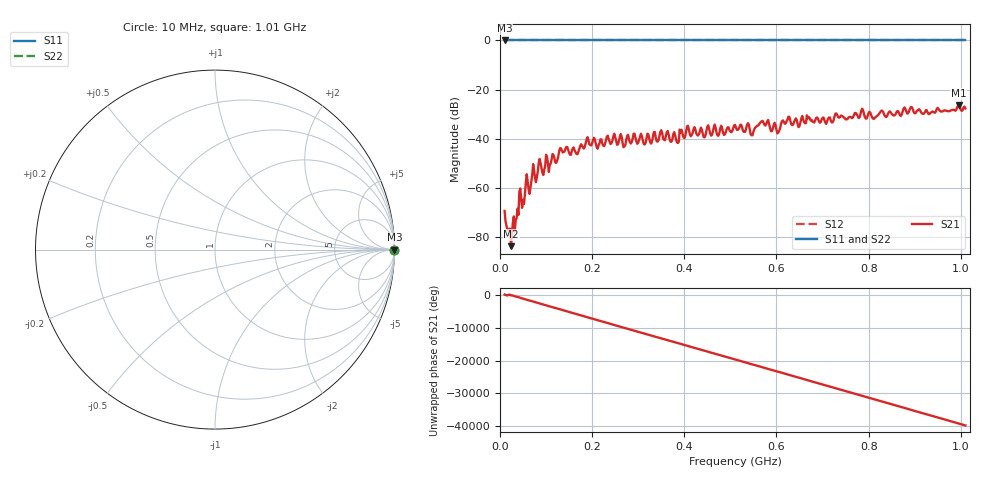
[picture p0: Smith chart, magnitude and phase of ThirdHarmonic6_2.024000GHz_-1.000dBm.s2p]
! 8/17/2025 12:17:43 AM
! C:\ANRITSUVNA\TEMP\TEMP.S2P
! CHANNEL.1
! TR.MEASUREMENT
! RAW.DATA
! RF.CORRECTION.OFF
! AVERAGING.OFF
! IF.BANDWIDTH: 5KHZ
! SWEEPTYPE:  FREQ.SWEEP(Linear)
! Reference Plane Port Info
! PORT:  PORT1  PORT2
! DISTANCE:  0  m  0  m
! TIME:  0  s  0  s
! PHASE.OFFSET:  0  deg.  0  deg.
! LOSS:  0  dB  0  dB
! REF.LOSS:  0  dB  0  dB
! REF.FREQ:  0  Hz  0  Hz
! Power Info
! POWER:  -20  dBm  -20  dBm
! EFF.POWER:  -20  dBm  -20  dBm
! SOURCE.ATTEN:  0  dB  0  dB
! TEST.ATTEN:  0  dB  0  dB
# GHZ S RI R 50.0
! FREQ.GHZ  S11RE  S11IM  S21RE  S21IM  S12RE  S12IM  S22RE  S22IM
!; PortSelection: Port_12
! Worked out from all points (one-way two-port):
!   501 points, 10 MHz to 1.01 GHz, reference 50 ohm
!   highest |S21| = -26.42 dB at 996 MHz (marker M1); lowest = -83.8 dB at 24 MHz (marker M2)
!   lowest |S11| = 0.0 dB at 10 MHz (marker M3)
!   |S11| at or under -10 dB: nowhere
!   |S22| runs from 0.0 to 0.0 dB; largest |S21 - S12| = 1
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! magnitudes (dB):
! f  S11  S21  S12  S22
! 10 MHz  0.0  -69.4  0.0  0.0
! 24 MHz  0.0  -83.8  0.0  0.0
! 36 MHz  0.0  -72.4  0.0  0.0
! 42 MHz  0.0  -61.6  0.0  0.0
! 50 MHz  0.0  -64.9  0.0  0.0
! 58 MHz  0.0  -54.5  0.0  0.0
! 64 MHz  0.0  -62.5  0.0  0.0
! 86 MHz  0.0  -48.3  0.0  0.0
! 94 MHz  0.0  -54.8  0.0  0.0
! 132 MHz  0.0  -43.9  0.0  0.0
! 178 MHz  0.0  -42.8  0.0  0.0
! 344 MHz  0.0  -40.6  0.0  0.0
! 510 MHz  0.0  -34.4  0.0  0.0
! 538 MHz  0.0  -33.7  0.0  0.0
! 546 MHz  0.0  -38.6  0.0  0.0
! 568 MHz  0.0  -32.9  0.0  0.0
! 604 MHz  0.0  -37.5  0.0  0.0
! 626 MHz  0.0  -31.0  0.0  0.0
! 678 MHz  0.0  -33.1  0.0  0.0
! 844 MHz  0.0  -29.2  0.0  0.0
! 996 MHz  0.0  -26.4  0.0  0.0
! 1.01 GHz  0.0  -27.7  0.0  0.0
